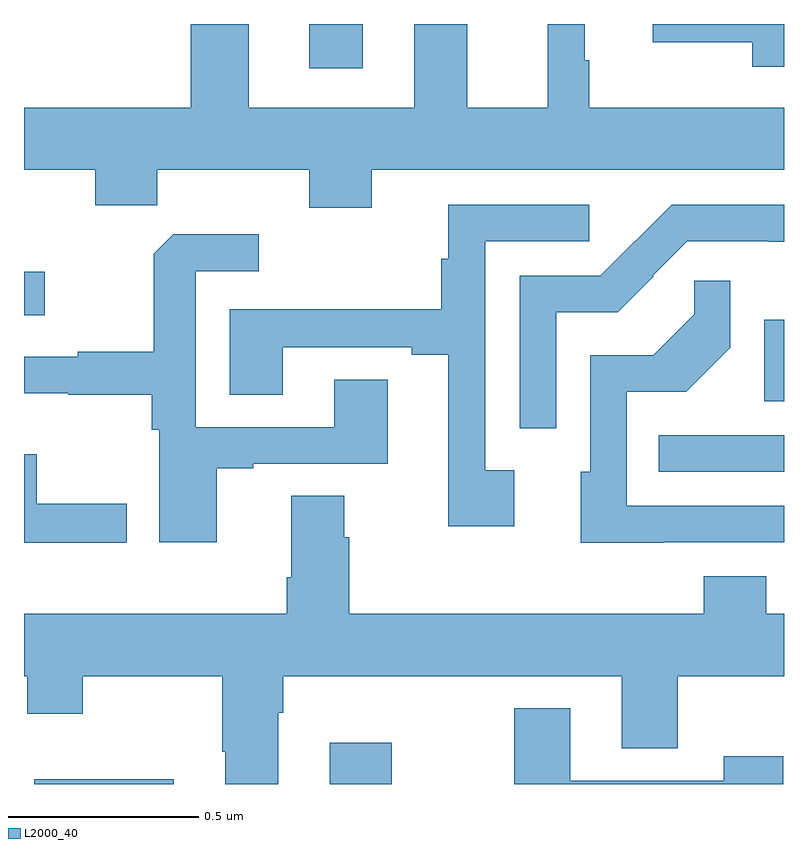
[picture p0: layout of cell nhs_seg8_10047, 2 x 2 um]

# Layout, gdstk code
import gdstk
lib = gdstk.Library(unit=1e-6, precision=1e-09)
def R(c, l, rs):  # rectangles x0, y0, x1, y1
    for r in rs: c.add(gdstk.rectangle(r[:2], r[2:], *l))
def P(c, l, *ps):  # polygons
    for p in ps: c.add(gdstk.Polygon(p, *l))
L2000_40 = (2000, 40)

nhs_seg8_10047 = lib.new_cell('nhs_seg8_10047')
R(nhs_seg8_10047, L2000_40, [(244.027,1098.9,244.394,1098.913), (244.805,1098.9,244.968,1099.009), (245.671,1099.722,246,1099.818), (245.948,1099.907,246,1100.122), (244,1100.133,244.054,1100.248), (244.751,1100.784,244.891,1100.9)])
P(nhs_seg8_10047, L2000_40, [(244.915,1100.516),(246,1100.516),(246,1100.68),(245.488,1100.68),(245.488,1100.804),(245.476,1100.804),(245.476,1100.9),(245.378,1100.9),(245.378,1100.68),(245.167,1100.68),(245.167,1100.9),(245.027,1100.9),(245.027,1100.68),(244.591,1100.68),(244.591,1100.9),(244.439,1100.9),(244.439,1100.68),(244,1100.68),(244,1100.516),(244.187,1100.516),(244.187,1100.423),(244.351,1100.423),(244.351,1100.516),(244.751,1100.516),(244.751,1100.417),(244.915,1100.417)],
  [(246,1100.9),(245.654,1100.9),(245.654,1100.852),(245.916,1100.852),(245.916,1100.787),(246,1100.787)],
  [(245.4,1100.142),(245.563,1100.142),(245.657,1100.236),(245.655,1100.238),(245.745,1100.328),(245.96,1100.328),(245.96,1100.327),(246,1100.327),(246,1100.424),(245.705,1100.424),(245.609,1100.328),(245.608,1100.329),(245.517,1100.238),(245.304,1100.238),(245.304,1099.836),(245.4,1099.836)],
  [(245.29,1099.726),(245.214,1099.726),(245.214,1100.328),(245.487,1100.328),(245.487,1100.424),(245.117,1100.424),(245.117,1100.282),(245.098,1100.282),(245.098,1100.15),(244.541,1100.15),(244.541,1099.924),(244.681,1099.924),(244.681,1100.049),(245.021,1100.049),(245.021,1100.029),(245.117,1100.029),(245.117,1099.578),(245.29,1099.578)],
  [(244.507,1099.731),(244.603,1099.731),(244.603,1099.743),(244.957,1099.743),(244.957,1099.964),(244.817,1099.964),(244.817,1099.839),(244.452,1099.839),(244.452,1100.25),(244.618,1100.25),(244.618,1100.347),(244.393,1100.347),(244.341,1100.295),(244.341,1100.038),(244.141,1100.038),(244.141,1100.025),(244,1100.025),(244,1099.928),(244.117,1099.928),(244.117,1099.924),(244.336,1099.924),(244.336,1099.832),(244.356,1099.832),(244.356,1099.536),(244.507,1099.536)],
  [(245.683,1099.536),(246,1099.536),(246,1099.632),(245.586,1099.632),(245.586,1099.932),(245.743,1099.932),(245.859,1100.048),(245.859,1100.224),(245.764,1100.224),(245.764,1100.136),(245.656,1100.028),(245.49,1100.028),(245.49,1099.722),(245.465,1099.722),(245.465,1099.535),(245.683,1099.535)],
  [(244.27,1099.637),(244.033,1099.637),(244.033,1099.768),(244,1099.768),(244,1099.535),(244.27,1099.535)],
  [(244.669,1099.088),(244.682,1099.088),(244.682,1099.184),(245.573,1099.184),(245.573,1098.994),(245.721,1098.994),(245.721,1099.184),(246,1099.184),(246,1099.348),(245.953,1099.348),(245.953,1099.447),(245.789,1099.447),(245.789,1099.348),(244.856,1099.348),(244.856,1099.55),(244.843,1099.55),(244.843,1099.658),(244.703,1099.658),(244.703,1099.444),(244.691,1099.444),(244.691,1099.348),(244,1099.348),(244,1099.184),(244.008,1099.184),(244.008,1099.085),(244.155,1099.085),(244.155,1099.184),(244.522,1099.184),(244.522,1098.985),(244.529,1098.985),(244.529,1098.9),(244.669,1098.9)],
  [(245.998,1098.973),(245.842,1098.973),(245.842,1098.909),(245.437,1098.909),(245.437,1099.099),(245.29,1099.099),(245.29,1098.9),(245.998,1098.9)])

lib.write_gds('nhs_seg8_10047.gds')
